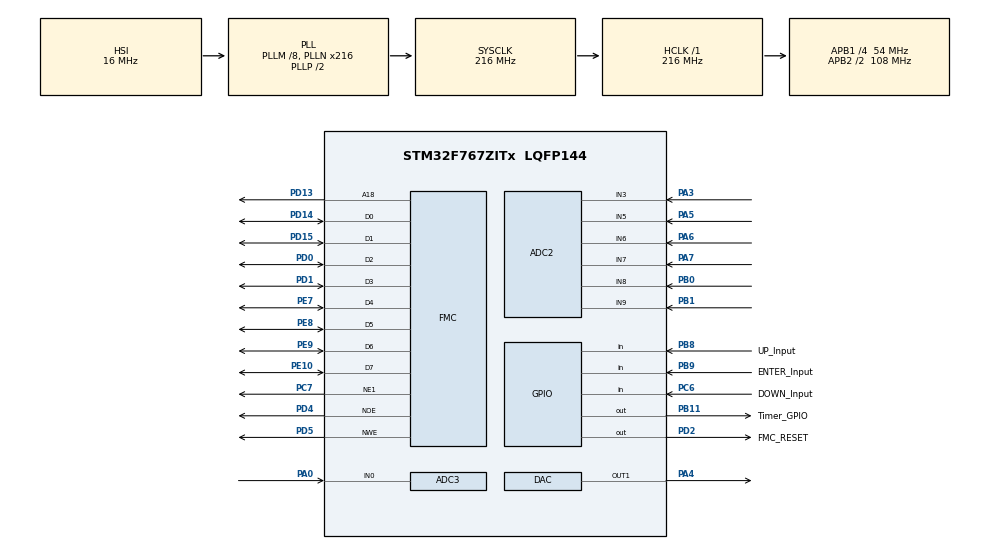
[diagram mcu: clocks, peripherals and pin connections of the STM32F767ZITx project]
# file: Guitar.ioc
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ADC2.Channel-2\#ChannelRegularConversion=ADC_CHANNEL_3
ADC2.Channel-3\#ChannelRegularConversion=ADC_CHANNEL_5
ADC2.Channel-4\#ChannelRegularConversion=ADC_CHANNEL_6
ADC2.Channel-5\#ChannelRegularConversion=ADC_CHANNEL_7
ADC2.Channel-6\#ChannelRegularConversion=ADC_CHANNEL_8
ADC2.Channel-7\#ChannelRegularConversion=ADC_CHANNEL_9
ADC2.ClockPrescaler=ADC_CLOCK_SYNC_PCLK_DIV6
ADC2.DMAContinuousRequests=ENABLE
ADC2.ExternalTrigConv=ADC_EXTERNALTRIGCONV_T2_TRGO
ADC2.NbrOfConversion=6
ADC2.NbrOfConversionFlag=1
ADC2.Rank-2\#ChannelRegularConversion=1
ADC2.Rank-3\#ChannelRegularConversion=2
ADC2.Rank-4\#ChannelRegularConversion=3
ADC2.Rank-5\#ChannelRegularConversion=4
ADC2.Rank-6\#ChannelRegularConversion=5
ADC2.Rank-7\#ChannelRegularConversion=6
ADC2.SamplingTime-2\#ChannelRegularConversion=ADC_SAMPLETIME_3CYCLES
ADC2.SamplingTime-3\#ChannelRegularConversion=ADC_SAMPLETIME_3CYCLES
ADC2.SamplingTime-4\#ChannelRegularConversion=ADC_SAMPLETIME_3CYCLES
ADC2.SamplingTime-5\#ChannelRegularConversion=ADC_SAMPLETIME_3CYCLES
ADC2.SamplingTime-6\#ChannelRegularConversion=ADC_SAMPLETIME_3CYCLES
ADC2.SamplingTime-7\#ChannelRegularConversion=ADC_SAMPLETIME_3CYCLES
ADC3.Channel-5\#ChannelRegularConversion=ADC_CHANNEL_0
ADC3.ClockPrescaler=ADC_CLOCK_SYNC_PCLK_DIV6
ADC3.DMAContinuousRequests=ENABLE
ADC3.ExternalTrigConv=ADC_EXTERNALTRIGCONV_T6_TRGO
ADC3.NbrOfConversion=1
ADC3.NbrOfConversionFlag=1
ADC3.Rank-5\#ChannelRegularConversion=1
ADC3.SamplingTime-5\#ChannelRegularConversion=ADC_SAMPLETIME_3CYCLES
ADC3.ScanConvMode=ADC_SCAN_DISABLE
DAC.DAC_Trigger=DAC_TRIGGER_T6_TRGO
Dma.ADC2.2.Direction=DMA_PERIPH_TO_MEMORY
Dma.ADC2.2.FIFOMode=DMA_FIFOMODE_DISABLE
Dma.ADC2.2.Instance=DMA2_Stream2
Dma.ADC2.2.MemDataAlignment=DMA_MDATAALIGN_HALFWORD
Dma.ADC2.2.MemInc=DMA_MINC_ENABLE
Dma.ADC2.2.Mode=DMA_CIRCULAR
Dma.ADC2.2.PeriphDataAlignment=DMA_PDATAALIGN_HALFWORD
Dma.ADC2.2.PeriphInc=DMA_PINC_DISABLE
Dma.ADC2.2.Priority=DMA_PRIORITY_LOW
Dma.ADC3.1.Direction=DMA_PERIPH_TO_MEMORY
Dma.ADC3.1.FIFOMode=DMA_FIFOMODE_DISABLE
Dma.ADC3.1.Instance=DMA2_Stream0
Dma.ADC3.1.MemDataAlignment=DMA_MDATAALIGN_HALFWORD
Dma.ADC3.1.MemInc=DMA_MINC_ENABLE
Dma.ADC3.1.Mode=DMA_CIRCULAR
Dma.ADC3.1.PeriphDataAlignment=DMA_PDATAALIGN_HALFWORD
Dma.ADC3.1.PeriphInc=DMA_PINC_DISABLE
Dma.ADC3.1.Priority=DMA_PRIORITY_HIGH
Dma.DAC1.0.Direction=DMA_MEMORY_TO_PERIPH
Dma.DAC1.0.FIFOMode=DMA_FIFOMODE_DISABLE
Dma.DAC1.0.Instance=DMA1_Stream5
Dma.DAC1.0.MemDataAlignment=DMA_MDATAALIGN_HALFWORD
Dma.DAC1.0.MemInc=DMA_MINC_ENABLE
Dma.DAC1.0.Mode=DMA_CIRCULAR
Dma.DAC1.0.PeriphDataAlignment=DMA_PDATAALIGN_HALFWORD
Dma.DAC1.0.PeriphInc=DMA_PINC_DISABLE
Dma.DAC1.0.Priority=DMA_PRIORITY_HIGH
Dma.Request0=DAC1
Dma.Request1=ADC3
Dma.Request2=ADC2
FMC.WriteFifo1=FMC_WRITE_FIFO_DISABLE
FMC.WriteFifo2=FMC_WRITE_FIFO_DISABLE
FMC.WriteFifo3=FMC_WRITE_FIFO_DISABLE
FMC.WriteFifo4=FMC_WRITE_FIFO_DISABLE
FREERTOS.Queues01=audioBufPtrQueue,2,uint32_t,0,Dynamic,NULL,NULL
FREERTOS.Tasks01=processAudioBlu,48,128,StartProcessAudioBufferTask,Default,NULL,Dynamic,NULL,NULL;uiTask,24,128,StartUITask,Default,NULL,Dynamic,NULL,NULL
FREERTOS.configUSE_PREEMPTION=1
Mcu.Family=STM32F7
Mcu.Name=STM32F767ZITx
Mcu.Package=LQFP144
NVIC.DMA1_Stream5_IRQn=true\:5\:0\:false\:false\:true\:true\:false\:true
NVIC.DMA2_Stream0_IRQn=true\:5\:0\:false\:false\:true\:true\:false\:true
NVIC.DMA2_Stream2_IRQn=true\:5\:0\:false\:false\:true\:true\:false\:true
NVIC.PriorityGroup=NVIC_PRIORITYGROUP_4
NVIC.TIM1_UP_TIM10_IRQn=true\:0\:0\:false\:false\:true\:false\:false\:true
NVIC.TIM7_IRQn=true\:5\:0\:false\:false\:true\:true\:true\:true
NVIC.TimeBase=TIM1_UP_TIM10_IRQn
NVIC.TimeBaseIP=TIM10
PA0/WKUP.Signal=ADCx_IN0
PA3.Signal=ADCx_IN3
PA4.Signal=COMP_DAC1_group
PA5.Signal=ADCx_IN5
PA6.Signal=ADCx_IN6
PA7.Signal=ADCx_IN7
PB0.Signal=ADCx_IN8
PB1.Signal=ADCx_IN9
PB11.GPIO_Label=Timer_GPIO
PB11.Signal=GPIO_Output
PB8.GPIO_Label=UP_Input
PB8.Signal=GPIO_Input
PB9.GPIO_Label=ENTER_Input
PB9.Signal=GPIO_Input
PC6.GPIO_Label=DOWN_Input
PC6.Signal=GPIO_Input
PC7.Mode=NorPsramChipSelect1_1
PC7.Signal=FMC_NE1
PD0.Signal=FMC_D2_DA2
PD1.Signal=FMC_D3_DA3
PD13.Signal=FMC_A18
PD14.Signal=FMC_D0_DA0
PD15.Signal=FMC_D1_DA1
PD2.GPIO_Label=FMC_RESET
PD2.Signal=GPIO_Output
PD4.Signal=FMC_NOE
PD5.Signal=FMC_NWE
PE10.Signal=FMC_D7_DA7
PE7.Signal=FMC_D4_DA4
PE8.Signal=FMC_D5_DA5
PE9.Signal=FMC_D6_DA6
ProjectManager.HeapSize=0x200
ProjectManager.StackSize=0x400
ProjectManager.TargetToolchain=STM32CubeIDE
RCC.AHBFreq_Value=216000000
RCC.APB1CLKDivider=RCC_HCLK_DIV4
RCC.APB1Freq_Value=54000000
RCC.APB1TimFreq_Value=108000000
RCC.APB2CLKDivider=RCC_HCLK_DIV2
RCC.APB2Freq_Value=108000000
RCC.APB2TimFreq_Value=216000000
RCC.CortexFreq_Value=216000000
RCC.HCLKFreq_Value=216000000
RCC.HSE_VALUE=25000000
RCC.HSI_VALUE=16000000
RCC.LSE_VALUE=32768
RCC.PLLM=8
RCC.PLLN=216
RCC.SYSCLKFreq_VALUE=216000000
RCC.SYSCLKSource=RCC_SYSCLKSOURCE_PLLCLK
RCC.USBFreq_Value=216000000
RCC.VCOOutputFreq_Value=432000000
SH.ADCx_IN0.0=ADC3_IN0,IN0
SH.ADCx_IN3.0=ADC2_IN3,IN3
SH.ADCx_IN5.0=ADC2_IN5,IN5
SH.ADCx_IN6.0=ADC2_IN6,IN6
SH.ADCx_IN7.0=ADC2_IN7,IN7
SH.ADCx_IN8.0=ADC2_IN8,IN8
SH.ADCx_IN9.0=ADC2_IN9,IN9
SH.COMP_DAC1_group.0=DAC_OUT1,DAC_OUT1
SH.FMC_A18.0=FMC_A18,A18_1
SH.FMC_D0_DA0.0=FMC_D0,8b-d1
SH.FMC_D1_DA1.0=FMC_D1,8b-d1
SH.FMC_D2_DA2.0=FMC_D2,8b-d1
SH.FMC_D3_DA3.0=FMC_D3,8b-d1
SH.FMC_D4_DA4.0=FMC_D4,8b-d1
SH.FMC_D5_DA5.0=FMC_D5,8b-d1
SH.FMC_D6_DA6.0=FMC_D6,8b-d1
SH.FMC_D7_DA7.0=FMC_D7,8b-d1
SH.FMC_NOE.0=FMC_NOE,Lcd1
SH.FMC_NWE.0=FMC_NWE,Lcd1
TIM2.AutoReloadPreload=TIM_AUTORELOAD_PRELOAD_ENABLE
TIM2.Channel-Output\ Compare4\ No\ Output=TIM_CHANNEL_4
TIM2.Period=1079
TIM2.Prescaler=9999
TIM2.TIM_MasterOutputTrigger=TIM_TRGO_UPDATE
TIM6.Period=9
TIM6.Prescaler=224
TIM6.TIM_MasterOutputTrigger=TIM_TRGO_UPDATE
TIM7.Period=999
TIM7.Prescaler=2249
TIM7.TIM_MasterOutputTrigger=TIM_TRGO_UPDATE
VP_FREERTOS_VS_CMSIS_V2.Mode=CMSIS_V2
VP_SYS_VS_tim10.Mode=TIM10
VP_TIM2_VS_ClockSourceINT.Mode=Internal
VP_TIM2_VS_no_output4.Mode=Output Compare4 No Output
VP_TIM6_VS_ClockSourceINT.Mode=Enable_Timer
VP_TIM7_VS_ClockSourceINT.Mode=Enable_Timer
board=custom

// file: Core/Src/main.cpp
/* USER CODE BEGIN Header */
/**
  ******************************************************************************
  * @file           : main.cpp
  * @brief          : Main program body
  ******************************************************************************
  * @attention
  *
  * <h2><center>&copy; Copyright (c) 2021 STMicroelectronics.
  * All rights reserved.</center></h2>
  *
  * This software component is licensed by ST under BSD 3-Clause license,
  * the "License"; You may not use this file except in compliance with the
  * License. You may obtain a copy of the License at:
  *                        opensource.org/licenses/BSD-3-Clause
  *
  ******************************************************************************
  */
/* USER CODE END Header */

#include "main.h"
#include "FreeRTOS.h"
#include "task.h"
#include "cmsis_os.h"

/* USER CODE BEGIN Includes */
#include <stdlib.h>
#include <memory>

#include "magna_config.h"
#include "magna_lcd.h"
#include "magna_dsp.h"
#include "magna_fx.h"
#include "magna_ui_v2.h"

/* USER CODE END Includes */

ADC_HandleTypeDef hadc2;
ADC_HandleTypeDef hadc3;
DMA_HandleTypeDef hdma_adc2;
DMA_HandleTypeDef hdma_adc3;

DAC_HandleTypeDef hdac;
DMA_HandleTypeDef hdma_dac1;

TIM_HandleTypeDef htim2;
TIM_HandleTypeDef htim6;
TIM_HandleTypeDef htim7;

SRAM_HandleTypeDef hsram1;

/* Definitions for processAudioBlu */
osThreadId_t processAudioBluHandle;
const osThreadAttr_t processAudioBlu_attributes = {
  .name = "processAudioBlu",
  .stack_size = 512,
  .priority = (osPriority_t) osPriorityRealtime
};
/* Definitions for uiTask */
osThreadId_t uiTaskHandle;
const osThreadAttr_t uiTask_attributes = {
  .name = "uiTask",
  .stack_size = 2048,
  .priority = (osPriority_t) osPriorityNormal
};

/* semaphores */
osEventFlagsId_t potBufferReadyFlag;
osEventFlagsId_t audioBufferReadyFlag;

#define NUM_POTS 6

#define BUFFER_LEN 512
#define HALF_BUFFER_LEN BUFFER_LEN>>1

#define AUDIO_FLOAT_RES 4096.0f

static uint16_t adcBuffer[BUFFER_LEN] = {0};
static uint16_t dacBuffer[BUFFER_LEN] = {0};

// potentiometer readings
static volatile uint16_t potBuffer[NUM_POTS] = {0};
/* USER CODE END PV */

void SystemClock_Config(void);
static void MX_GPIO_Init(void);
static void MX_DMA_Init(void);
static void MX_ADC3_Init(void);
static void MX_DAC_Init(void);
static void MX_TIM6_Init(void);
static void MX_ADC2_Init(void);
static void MX_FMC_Init(void);
static void MX_TIM7_Init(void);
static void MX_TIM2_Init(void);
void StartProcessAudioBufferTask(void *argument);
void StartUITask(void *argument);

int main(void)
{

  /* MCU Configuration--------------------------------------------------------*/

  /* Reset of all peripherals, Initializes the Flash interface and the Systick. */
  HAL_Init();

  /* Configure the system clock */
  SystemClock_Config();

  /* Initialize all configured peripherals */
  MX_GPIO_Init();
  MX_DMA_Init();
  MX_ADC3_Init();
  MX_DAC_Init();
  MX_TIM6_Init();
  MX_ADC2_Init();
  MX_FMC_Init();
  MX_TIM7_Init();
  MX_TIM2_Init();
  /* USER CODE BEGIN 2 */
  HAL_TIM_Base_Start_IT(&htim2);
  HAL_TIM_Base_Start_IT(&htim6);
  HAL_TIM_Base_Start_IT(&htim7);
  HAL_ADC_Start_DMA(&hadc2, (uint32_t*)&potBuffer, NUM_POTS);
  HAL_ADC_Start_DMA(&hadc3, (uint32_t*)&adcBuffer, BUFFER_LEN);
  HAL_DAC_Start_DMA(&hdac, DAC_CHANNEL_1, (uint32_t*)&dacBuffer, BUFFER_LEN, DAC_ALIGN_12B_R);

  /* USER CODE END 2 */
  /* Init scheduler */
  osKernelInitialize();

  /* Create the queue(s) */
  potBufferReadyFlag = osEventFlagsNew(NULL);
  audioBufferReadyFlag = osEventFlagsNew(NULL);

  /* Create the thread(s) */
  /* creation of processAudioBlu */
  processAudioBluHandle = osThreadNew(StartProcessAudioBufferTask, NULL, &processAudioBlu_attributes);

  /* creation of uiTask */
  uiTaskHandle = osThreadNew(StartUITask, NULL, &uiTask_attributes);

  /* Start scheduler */
  osKernelStart();

  /* We should never get here as control is now taken by the scheduler */

  /* Infinite loop */
  while (1)
  {

  }
}

void SystemClock_Config(void)
{
	  RCC_OscInitTypeDef RCC_OscInitStruct = {0};
	  RCC_ClkInitTypeDef RCC_ClkInitStruct = {0};

	  /** Configure the main internal regulator output voltage
	  */
	  __HAL_RCC_PWR_CLK_ENABLE();
	  __HAL_PWR_VOLTAGESCALING_CONFIG(PWR_REGULATOR_VOLTAGE_SCALE1);
	  /** Initializes the CPU, AHB and APB busses clocks
	  */
	  RCC_OscInitStruct.OscillatorType = RCC_OSCILLATORTYPE_HSI;
	  RCC_OscInitStruct.HSIState = RCC_HSI_ON;
	  RCC_OscInitStruct.HSICalibrationValue = RCC_HSICALIBRATION_DEFAULT;
	  RCC_OscInitStruct.PLL.PLLState = RCC_PLL_ON;
	  RCC_OscInitStruct.PLL.PLLSource = RCC_PLLSOURCE_HSI;
	  RCC_OscInitStruct.PLL.PLLM = 8;
	  RCC_OscInitStruct.PLL.PLLN = 216;
	  RCC_OscInitStruct.PLL.PLLP = RCC_PLLP_DIV2;
	  RCC_OscInitStruct.PLL.PLLQ = 2;
	  if (HAL_RCC_OscConfig(&RCC_OscInitStruct) != HAL_OK)
	  {
	    Error_Handler();
	  }
	  /** Activate the Over-Drive mode
	  */
	  if (HAL_PWREx_EnableOverDrive() != HAL_OK)
	  {
	    Error_Handler();
	  }
	  /** Initializes the CPU, AHB and APB busses clocks
	  */
	  RCC_ClkInitStruct.ClockType = RCC_CLOCKTYPE_HCLK|RCC_CLOCKTYPE_SYSCLK
	                              |RCC_CLOCKTYPE_PCLK1|RCC_CLOCKTYPE_PCLK2;
	  RCC_ClkInitStruct.SYSCLKSource = RCC_SYSCLKSOURCE_PLLCLK;
	  RCC_ClkInitStruct.AHBCLKDivider = RCC_SYSCLK_DIV1;
	  RCC_ClkInitStruct.APB1CLKDivider = RCC_HCLK_DIV4;
	  RCC_ClkInitStruct.APB2CLKDivider = RCC_HCLK_DIV2;

	  if (HAL_RCC_ClockConfig(&RCC_ClkInitStruct, FLASH_LATENCY_7) != HAL_OK)
	  {
	    Error_Handler();
	  }
}

static void MX_ADC2_Init(void)
{

  ADC_ChannelConfTypeDef sConfig = {0};

  /** Configure the global features of the ADC (Clock, Resolution, Data Alignment and number of conversion)
  */
  hadc2.Instance = ADC2;
  hadc2.Init.ClockPrescaler = ADC_CLOCK_SYNC_PCLK_DIV6;
  hadc2.Init.Resolution = ADC_RESOLUTION_12B;
  hadc2.Init.ScanConvMode = ADC_SCAN_ENABLE;
  hadc2.Init.ContinuousConvMode = DISABLE;
  hadc2.Init.DiscontinuousConvMode = DISABLE;
  hadc2.Init.ExternalTrigConvEdge = ADC_EXTERNALTRIGCONVEDGE_RISING;
  hadc2.Init.ExternalTrigConv = ADC_EXTERNALTRIGCONV_T2_TRGO;
  hadc2.Init.DataAlign = ADC_DATAALIGN_RIGHT;
  hadc2.Init.NbrOfConversion = 6;
  hadc2.Init.DMAContinuousRequests = ENABLE;
  hadc2.Init.EOCSelection = ADC_EOC_SINGLE_CONV;
  if (HAL_ADC_Init(&hadc2) != HAL_OK)
  {
    Error_Handler();
  }
  /** Configure for the selected ADC regular channel its corresponding rank in the sequencer and its sample time.
  */
  sConfig.Channel = ADC_CHANNEL_3;
  sConfig.Rank = ADC_REGULAR_RANK_1;
  sConfig.SamplingTime = ADC_SAMPLETIME_3CYCLES;
  if (HAL_ADC_ConfigChannel(&hadc2, &sConfig) != HAL_OK)
  {
    Error_Handler();
  }
  /** Configure for the selected ADC regular channel its corresponding rank in the sequencer and its sample time.
  */
  sConfig.Channel = ADC_CHANNEL_5;
  sConfig.Rank = ADC_REGULAR_RANK_2;
  if (HAL_ADC_ConfigChannel(&hadc2, &sConfig) != HAL_OK)
  {
    Error_Handler();
  }
  /** Configure for the selected ADC regular channel its corresponding rank in the sequencer and its sample time.
  */
  sConfig.Channel = ADC_CHANNEL_6;
  sConfig.Rank = ADC_REGULAR_RANK_3;
  if (HAL_ADC_ConfigChannel(&hadc2, &sConfig) != HAL_OK)
  {
    Error_Handler();
  }
  /** Configure for the selected ADC regular channel its corresponding rank in the sequencer and its sample time.
  */
  sConfig.Channel = ADC_CHANNEL_7;
  sConfig.Rank = ADC_REGULAR_RANK_4;
  if (HAL_ADC_ConfigChannel(&hadc2, &sConfig) != HAL_OK)
  {
    Error_Handler();
  }
  /** Configure for the selected ADC regular channel its corresponding rank in the sequencer and its sample time.
  */
  sConfig.Channel = ADC_CHANNEL_8;
  sConfig.Rank = ADC_REGULAR_RANK_5;
  if (HAL_ADC_ConfigChannel(&hadc2, &sConfig) != HAL_OK)
  {
    Error_Handler();
  }
  /** Configure for the selected ADC regular channel its corresponding rank in the sequencer and its sample time.
  */
  sConfig.Channel = ADC_CHANNEL_9;
  sConfig.Rank = ADC_REGULAR_RANK_6;
  if (HAL_ADC_ConfigChannel(&hadc2, &sConfig) != HAL_OK)
  {
    Error_Handler();
  }

}

static void MX_ADC3_Init(void)
{

  ADC_ChannelConfTypeDef sConfig = {0};

  /** Configure the global features of the ADC (Clock, Resolution, Data Alignment and number of conversion)
  */
  hadc3.Instance = ADC3;
  hadc3.Init.ClockPrescaler = ADC_CLOCK_SYNC_PCLK_DIV6;
  hadc3.Init.Resolution = ADC_RESOLUTION_12B;
  hadc3.Init.ScanConvMode = ADC_SCAN_DISABLE;
  hadc3.Init.ContinuousConvMode = DISABLE;
  hadc3.Init.DiscontinuousConvMode = DISABLE;
  hadc3.Init.ExternalTrigConvEdge = ADC_EXTERNALTRIGCONVEDGE_RISING;
  hadc3.Init.ExternalTrigConv = ADC_EXTERNALTRIGCONV_T6_TRGO;
  hadc3.Init.DataAlign = ADC_DATAALIGN_RIGHT;
  hadc3.Init.NbrOfConversion = 1;
  hadc3.Init.DMAContinuousRequests = ENABLE;
  hadc3.Init.EOCSelection = ADC_EOC_SINGLE_CONV;
  if (HAL_ADC_Init(&hadc3) != HAL_OK)
  {
    Error_Handler();
  }
  /** Configure for the selected ADC regular channel its corresponding rank in the sequencer and its sample time.
  */
  sConfig.Channel = ADC_CHANNEL_0;
  sConfig.Rank = ADC_REGULAR_RANK_1;
  sConfig.SamplingTime = ADC_SAMPLETIME_3CYCLES;
  if (HAL_ADC_ConfigChannel(&hadc3, &sConfig) != HAL_OK)
  {
    Error_Handler();
  }

}

static void MX_DAC_Init(void)
{

  DAC_ChannelConfTypeDef sConfig = {0};

  /** DAC Initialization
  */
  hdac.Instance = DAC;
  if (HAL_DAC_Init(&hdac) != HAL_OK)
  {
    Error_Handler();
  }
  /** DAC channel OUT1 config
  */
  sConfig.DAC_Trigger = DAC_TRIGGER_T6_TRGO;
  sConfig.DAC_OutputBuffer = DAC_OUTPUTBUFFER_ENABLE;
  if (HAL_DAC_ConfigChannel(&hdac, &sConfig, DAC_CHANNEL_1) != HAL_OK)
  {
    Error_Handler();
  }

}

static void MX_TIM2_Init(void)
{

  TIM_ClockConfigTypeDef sClockSourceConfig = {0};
  TIM_MasterConfigTypeDef sMasterConfig = {0};
  TIM_OC_InitTypeDef sConfigOC = {0};

  htim2.Instance = TIM2;
  htim2.Init.Prescaler = 19999;
  htim2.Init.CounterMode = TIM_COUNTERMODE_UP;
  htim2.Init.Period = 1079;
  htim2.Init.ClockDivision = TIM_CLOCKDIVISION_DIV1;
  htim2.Init.AutoReloadPreload = TIM_AUTORELOAD_PRELOAD_ENABLE;
  if (HAL_TIM_Base_Init(&htim2) != HAL_OK)
  {
    Error_Handler();
  }
  sClockSourceConfig.ClockSource = TIM_CLOCKSOURCE_INTERNAL;
  if (HAL_TIM_ConfigClockSource(&htim2, &sClockSourceConfig) != HAL_OK)
  {
    Error_Handler();
  }
  if (HAL_TIM_OC_Init(&htim2) != HAL_OK)
  {
    Error_Handler();
  }
  sMasterConfig.MasterOutputTrigger = TIM_TRGO_UPDATE;
  sMasterConfig.MasterSlaveMode = TIM_MASTERSLAVEMODE_DISABLE;
  if (HAL_TIMEx_MasterConfigSynchronization(&htim2, &sMasterConfig) != HAL_OK)
  {
    Error_Handler();
  }
  sConfigOC.OCMode = TIM_OCMODE_TIMING;
  sConfigOC.Pulse = 0;
  sConfigOC.OCPolarity = TIM_OCPOLARITY_HIGH;
  sConfigOC.OCFastMode = TIM_OCFAST_DISABLE;
  if (HAL_TIM_OC_ConfigChannel(&htim2, &sConfigOC, TIM_CHANNEL_4) != HAL_OK)
  {
    Error_Handler();
  }

}

static void MX_TIM6_Init(void)
{

  TIM_MasterConfigTypeDef sMasterConfig = {0};

  htim6.Instance = TIM6;
  htim6.Init.Prescaler = 224;
  htim6.Init.CounterMode = TIM_COUNTERMODE_UP;
  htim6.Init.Period = 9;
  htim6.Init.AutoReloadPreload = TIM_AUTORELOAD_PRELOAD_ENABLE;
  if (HAL_TIM_Base_Init(&htim6) != HAL_OK)
  {
    Error_Handler();
  }
  sMasterConfig.MasterOutputTrigger = TIM_TRGO_UPDATE;
  sMasterConfig.MasterSlaveMode = TIM_MASTERSLAVEMODE_DISABLE;
  if (HAL_TIMEx_MasterConfigSynchronization(&htim6, &sMasterConfig) != HAL_OK)
  {
    Error_Handler();
  }

}

static void MX_TIM7_Init(void)
{

  TIM_MasterConfigTypeDef sMasterConfig = {0};

  htim7.Instance = TIM7;
  htim7.Init.Prescaler = 4499;//2249;
  htim7.Init.CounterMode = TIM_COUNTERMODE_UP;
  htim7.Init.Period = 999;
  htim7.Init.AutoReloadPreload = TIM_AUTORELOAD_PRELOAD_DISABLE;
  if (HAL_TIM_Base_Init(&htim7) != HAL_OK)
  {
    Error_Handler();
  }
  sMasterConfig.MasterOutputTrigger = TIM_TRGO_UPDATE;
  sMasterConfig.MasterSlaveMode = TIM_MASTERSLAVEMODE_DISABLE;
  if (HAL_TIMEx_MasterConfigSynchronization(&htim7, &sMasterConfig) != HAL_OK)
  {
    Error_Handler();
  }

}

static void MX_DMA_Init(void)
{

  /* DMA controller clock enable */
  __HAL_RCC_DMA1_CLK_ENABLE();
  __HAL_RCC_DMA2_CLK_ENABLE();

  /* DMA interrupt init */
  /* DMA1_Stream5_IRQn interrupt configuration */
  HAL_NVIC_SetPriority(DMA1_Stream5_IRQn, 5, 0);
  HAL_NVIC_EnableIRQ(DMA1_Stream5_IRQn);
  /* DMA2_Stream0_IRQn interrupt configuration */
  HAL_NVIC_SetPriority(DMA2_Stream0_IRQn, 5, 0);
  HAL_NVIC_EnableIRQ(DMA2_Stream0_IRQn);
  /* DMA2_Stream2_IRQn interrupt configuration */
  HAL_NVIC_SetPriority(DMA2_Stream2_IRQn, 5, 0);
  HAL_NVIC_EnableIRQ(DMA2_Stream2_IRQn);

}

static void MX_GPIO_Init(void)
{
  GPIO_InitTypeDef GPIO_InitStruct = {0};

  /* GPIO Ports Clock Enable */
  __HAL_RCC_GPIOA_CLK_ENABLE();
  __HAL_RCC_GPIOB_CLK_ENABLE();
  __HAL_RCC_GPIOE_CLK_ENABLE();
  __HAL_RCC_GPIOD_CLK_ENABLE();
  __HAL_RCC_GPIOC_CLK_ENABLE();

  /*Configure GPIO pin Output Level */
  HAL_GPIO_WritePin(Timer_GPIO_GPIO_Port, Timer_GPIO_Pin, GPIO_PIN_RESET);

  /*Configure GPIO pin Output Level */
  HAL_GPIO_WritePin(FMC_RESET_GPIO_Port, FMC_RESET_Pin, GPIO_PIN_RESET);

  /*Configure GPIO pin : Timer_GPIO_Pin */
  GPIO_InitStruct.Pin = Timer_GPIO_Pin;
  GPIO_InitStruct.Mode = GPIO_MODE_OUTPUT_PP;
  GPIO_InitStruct.Pull = GPIO_NOPULL;
  GPIO_InitStruct.Speed = GPIO_SPEED_FREQ_LOW;
  HAL_GPIO_Init(Timer_GPIO_GPIO_Port, &GPIO_InitStruct);

  /*Configure GPIO pin : DOWN_Input_Pin */
  GPIO_InitStruct.Pin = DOWN_Input_Pin;
  GPIO_InitStruct.Mode = GPIO_MODE_INPUT;
  GPIO_InitStruct.Pull = GPIO_NOPULL;
  HAL_GPIO_Init(DOWN_Input_GPIO_Port, &GPIO_InitStruct);

  /*Configure GPIO pin : FMC_RESET_Pin */
  GPIO_InitStruct.Pin = FMC_RESET_Pin;
  GPIO_InitStruct.Mode = GPIO_MODE_OUTPUT_PP;
  GPIO_InitStruct.Pull = GPIO_NOPULL;
  GPIO_InitStruct.Speed = GPIO_SPEED_FREQ_LOW;
  HAL_GPIO_Init(FMC_RESET_GPIO_Port, &GPIO_InitStruct);

  /*Configure GPIO pins : UP_Input_Pin ENTER_Input_Pin */
  GPIO_InitStruct.Pin = UP_Input_Pin|ENTER_Input_Pin;
  GPIO_InitStruct.Mode = GPIO_MODE_INPUT;
  GPIO_InitStruct.Pull = GPIO_NOPULL;
  HAL_GPIO_Init(GPIOB, &GPIO_InitStruct);

}

/* FMC initialization function */
static void MX_FMC_Init(void)
{

  FMC_NORSRAM_TimingTypeDef Timing = {0};

  /** Perform the SRAM1 memory initialization sequence
  */
  hsram1.Instance = FMC_NORSRAM_DEVICE;
  hsram1.Extended = FMC_NORSRAM_EXTENDED_DEVICE;
  /* hsram1.Init */
  hsram1.Init.NSBank = FMC_NORSRAM_BANK1;
  hsram1.Init.DataAddressMux = FMC_DATA_ADDRESS_MUX_DISABLE;
  hsram1.Init.MemoryType = FMC_MEMORY_TYPE_SRAM;
  hsram1.Init.MemoryDataWidth = FMC_NORSRAM_MEM_BUS_WIDTH_8;
  hsram1.Init.BurstAccessMode = FMC_BURST_ACCESS_MODE_DISABLE;
  hsram1.Init.WaitSignalPolarity = FMC_WAIT_SIGNAL_POLARITY_LOW;
  hsram1.Init.WaitSignalActive = FMC_WAIT_TIMING_BEFORE_WS;
  hsram1.Init.WriteOperation = FMC_WRITE_OPERATION_ENABLE;
  hsram1.Init.WaitSignal = FMC_WAIT_SIGNAL_DISABLE;
  hsram1.Init.ExtendedMode = FMC_EXTENDED_MODE_DISABLE;
  hsram1.Init.AsynchronousWait = FMC_ASYNCHRONOUS_WAIT_DISABLE;
  hsram1.Init.WriteBurst = FMC_WRITE_BURST_DISABLE;
  hsram1.Init.ContinuousClock = FMC_CONTINUOUS_CLOCK_SYNC_ONLY;
  hsram1.Init.WriteFifo = FMC_WRITE_FIFO_DISABLE;
  hsram1.Init.PageSize = FMC_PAGE_SIZE_NONE;
  /* Timing */
  Timing.AddressSetupTime = 15;
  Timing.AddressHoldTime = 15;
  Timing.DataSetupTime = 255;
  Timing.BusTurnAroundDuration = 15;
  Timing.CLKDivision = 16;
  Timing.DataLatency = 17;
  Timing.AccessMode = FMC_ACCESS_MODE_A;
  /* ExtTiming */

  if (HAL_SRAM_Init(&hsram1, &Timing, NULL) != HAL_OK)
  {
    Error_Handler( );
  }

}

/* USER CODE BEGIN 4 */

/* overload C++ new and delete operators to make them thread-safe */
void* operator new (std::size_t count) {
	void *p;
#if USING_FREERTOS
	if (uxTaskGetNumberOfTasks())
		p = pvPortMalloc(count);
	else
		p = malloc(count);
#if THROW_ALLOC_EXCEPTIONS
		if (p == 0)
			throw std::bad_alloc();
#endif
#else
	p = malloc(count);
#endif
	return p;
}

void operator delete(void* ptr) noexcept {
#if USING_FREERTOS
	if (uxTaskGetNumberOfTasks())
		vPortFree(ptr);
	else
		free(ptr);
#else
	free(ptr);
#endif
	ptr = NULL;
}

void *operator new[](std::size_t count) {
	void *p;
#if USING_FREERTOS
	if (uxTaskGetNumberOfTasks())
		p = pvPortMalloc(count);
	else
		p = malloc(count);
#if THROW_ALLOC_EXCEPTIONS
		if (p == 0)
			throw std::bad_alloc();
#endif
#else
	p = malloc(count);
#endif
	return p;
}

void operator delete[](void * ptr) noexcept {
#if USING_FREERTOS
	if (uxTaskGetNumberOfTasks())
		vPortFree(ptr);
	else
		free(ptr);
#else
	free(ptr);
#endif
	ptr = NULL;
}

extern "C" {

void TIM2_IRQHandler() {
	HAL_TIM_IRQHandler(&htim2);
}

void TIM6_IRQHandler() {
	HAL_TIM_IRQHandler(&htim6);
}

/* don't want half-complete/complete callbacks for potentiometers*/

#define ADC_HALF_FLAG  0x00000001U
#define ADC_FULL_FLAG  0x00000002U
#define POT_FLAG       0x00000004U
#define ANIMATION_FLAG 0x00000008U

void HAL_ADC_ConvHalfCpltCallback(ADC_HandleTypeDef* hadc) {
	if (hadc->Instance == ADC3) { // Guitar
		osEventFlagsSet(audioBufferReadyFlag, ADC_HALF_FLAG);
	}
}

void HAL_ADC_ConvCpltCallback(ADC_HandleTypeDef* hadc) {
	if (hadc->Instance == ADC3) { // Guitar
		osEventFlagsSet(audioBufferReadyFlag, ADC_FULL_FLAG);
	} else if (hadc->Instance == ADC2) {
		osEventFlagsSet(potBufferReadyFlag, POT_FLAG);
	}
}

}

/*void HAL_DAC_ConvHalfCpltCallbackCh1(DAC_HandleTypeDef* hdac) {
}

void HAL_DAC_ConvCpltCallbackCh1(DAC_HandleTypeDef* hdac) {
}*/

/* USER CODE END 4 */

void StartProcessAudioBufferTask(void *argument)
{
  /* USER CODE BEGIN 5 */
  uint32_t flag;
  magna::Effect<uint16_t> * currentEffect;
  currentEffect = new magna::VolumeDummyEffect<uint16_t>();
  /* Infinite loop */
  for(;;)
  {
	  /* briefly check for potentiometer updates */
	  flag = osEventFlagsWait(potBufferReadyFlag, POT_FLAG, osFlagsWaitAny, 0U);
	  if (flag == POT_FLAG) {
		  currentEffect->updateParameterValue(0, potBuffer[0]);
	  }
	  flag = osEventFlagsWait(audioBufferReadyFlag, ADC_HALF_FLAG | ADC_FULL_FLAG, osFlagsWaitAny, osWaitForever);
	  switch(flag) {
	  case ADC_HALF_FLAG:
	  	  	  currentEffect->processBuffer(&adcBuffer[0], &dacBuffer[HALF_BUFFER_LEN], HALF_BUFFER_LEN);
	  	  	  break;
	  case ADC_FULL_FLAG:
	  	  	  currentEffect->processBuffer(&adcBuffer[HALF_BUFFER_LEN], &dacBuffer[0], HALF_BUFFER_LEN);
			  break;
	  default:
		  break;
	  }
  }
  /* USER CODE END 5 */
  delete currentEffect;
  osThreadTerminate(NULL);
}

void StartUITask(void *argument)
{
  /* USER CODE BEGIN StartUITask */
	uint32_t flag;
	magna::ILI9341InitStruct lcdInitStruct = {
		.CSPort = GPIOC,
		.NWEPort = GPIOD,
		.RSPort = GPIOD,
		.ResetPort = GPIOD,
		.CSPin = GPIO_PIN_7,
		.NWEPin = GPIO_PIN_5,
		.RSPin = GPIO_PIN_13,
		.ResetPin = GPIO_PIN_2,
		.MemSwap = false
	};
	magna::ILI9341 lcd(lcdInitStruct);
	magna::UIDialStyleSheet dialStyleSheet(2, ILI9341_COLOR_WHITE, ILI9341_COLOR_WHITE, ILI9341_COLOR_RED, ILI9341_COLOR_RED, ILI9341_COLOR_RED, ILI9341_COLOR_RED);
	magna::UITextBoxStyleSheet textBoxStyleSheet(ILI9341_COLOR_WHITE, ILI9341_COLOR_BLACK, ILI9341_COLOR_WHITE, ILI9341_COLOR_BLACK);
	magna::UITextButtonStyleSheet textButtonStyleSheet(ILI9341_COLOR_WHITE, ILI9341_COLOR_BLACK, ILI9341_COLOR_WHITE, ILI9341_COLOR_BLACK);
	magna::EffectUIStyleSheet volumeUIStyleSheet(dialStyleSheet, textBoxStyleSheet, textButtonStyleSheet);
	volumeUIStyleSheet.backgroundColor = ILI9341_COLOR_BLACK;
#if INDEPENDENT_UI_ITEMS
	magna::UIDial dial(dialStyleSheet, 0.0f, 1.0f);//, "Volume");
	dial.updatePosition(0, 160, 240, 160);
	lcd.fill(ILI9341_COLOR_BLACK);
	dial.draw(lcd);
#else
	magna::EffectUserInterface volumeUI(volumeUIStyleSheet, lcd);//, "VOLUME");
	volumeUI.addDial("Volume", 0.0f, 1.0f);
	volumeUI.drawInitialScreen();
#endif
  /* Infinite loop */
  for(;;)
  {
	flag = osEventFlagsWait(potBufferReadyFlag, POT_FLAG, osFlagsWaitAny, 10U);
	if (flag == POT_FLAG) {
#if INDEPENDENT_UI_ITEMS
		float bufferValue = potBuffer[0]/4096.0f;
		if (bufferValue != dial.getValue()) {
			dial.setValue(bufferValue);
		}
#else
		volumeUI.setDial(0, potBuffer[0]/4096.0f);
#endif
	}
	flag = osThreadFlagsWait(ANIMATION_FLAG, osFlagsWaitAny, osWaitForever);
	if (flag == ANIMATION_FLAG) {
#if INDEPENDENT_UI_ITEMS
		dial.refresh(lcd);
#else
		volumeUI.refreshScreen();
#endif
	}
	osDelay(1);
  }
  osThreadTerminate(NULL);
  /* USER CODE END StartUITask */
}

void HAL_TIM_PeriodElapsedCallback(TIM_HandleTypeDef *htim)
{
  if (htim->Instance == TIM10) {
    HAL_IncTick();
  }
  /* USER CODE BEGIN Callback 1 */
  if (htim->Instance == TIM7) { // animation timer
	osThreadFlagsSet(uiTaskHandle, (uint32_t)ANIMATION_FLAG);
  }
#define debugTim6 0
#if debugTim6
  if (htim->Instance == TIM6) {
	  HAL_GPIO_TogglePin(Timer_GPIO_GPIO_Port, Timer_GPIO_Pin);
  }
#endif
  /* USER CODE END Callback 1 */
}

void Error_Handler(void)
{
  /* USER CODE BEGIN Error_Handler_Debug */
  /* User can add his own implementation to report the HAL error return state */
	return;
  /* USER CODE END Error_Handler_Debug */
}

/************************ (C) COPYRIGHT STMicroelectronics *****END OF FILE****/
